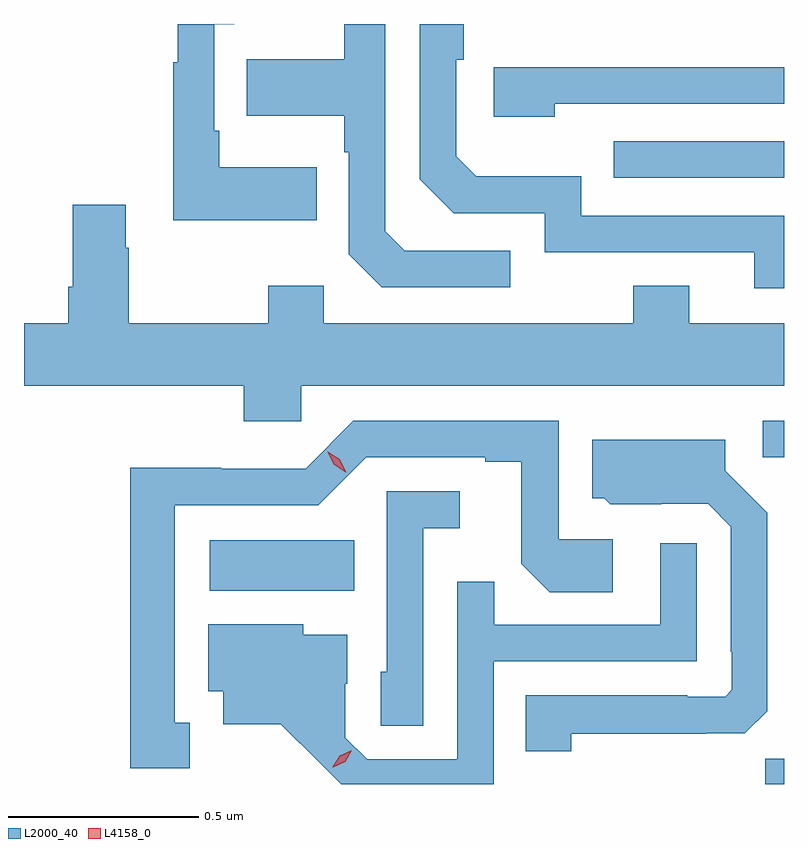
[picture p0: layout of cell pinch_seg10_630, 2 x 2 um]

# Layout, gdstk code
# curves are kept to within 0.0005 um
import gdstk
lib = gdstk.Library(unit=1e-6, precision=1e-09)
def R(c, l, rs):  # rectangles x0, y0, x1, y1
    for r in rs: c.add(gdstk.rectangle(r[:2], r[2:], *l))
def P(c, l, *ps):  # polygons
    for p in ps: c.add(gdstk.Polygon(p, *l))
L2000_40 = (2000, 40)
L4158_0 = (4158, 0)

pinch_seg10_630 = lib.new_cell('pinch_seg10_630')
R(pinch_seg10_630, L2000_40, [(293.794,1279.288,293.843,1279.355), (292.332,1279.796,292.712,1279.93), (293.787,1280.148,293.843,1280.244), (293.395,1280.883,293.843,1280.979)])
P(pinch_seg10_630, L2000_40, [(292.613,1280.911),(292.357,1280.911),(292.357,1281.007),(292.344,1281.007),(292.344,1281.287),(292.396,1281.287),(292.396,1281.288),(292.247,1281.288),(292.247,1281.187),(292.236,1281.187),(292.236,1280.771),(292.613,1280.771)],
  [(293.122,1280.691),(292.845,1280.691),(292.794,1280.742),(292.794,1281.288),(292.686,1281.288),(292.686,1281.195),(292.429,1281.195),(292.429,1281.047),(292.686,1281.047),(292.686,1280.951),(292.698,1280.951),(292.698,1280.682),(292.785,1280.595),(293.122,1280.595)],
  [(293.843,1280.784),(293.31,1280.784),(293.31,1280.887),(293.033,1280.887),(292.98,1280.94),(292.98,1281.194),(293,1281.194),(293,1281.288),(292.884,1281.288),(292.884,1280.88),(292.974,1280.79),(293.214,1280.79),(293.214,1280.688),(293.765,1280.688),(293.765,1280.592),(293.843,1280.592)],
  [(293.24,1281.078),(293.843,1281.078),(293.843,1281.174),(293.079,1281.174),(293.079,1281.044),(293.24,1281.044)],
  [(292.572,1280.336),(293.843,1280.336),(293.843,1280.5),(293.593,1280.5),(293.593,1280.599),(293.446,1280.599),(293.446,1280.5),(292.632,1280.5),(292.632,1280.599),(292.486,1280.599),(292.486,1280.5),(292.119,1280.5),(292.119,1280.699),(292.111,1280.699),(292.111,1280.812),(291.971,1280.812),(291.971,1280.596),(291.959,1280.596),(291.959,1280.5),(291.843,1280.5),(291.843,1280.336),(292.421,1280.336),(292.421,1280.243),(292.572,1280.243)],
  [(292.279,1279.449),(292.24,1279.449),(292.24,1280.022),(292.617,1280.022),(292.743,1280.148),(293.057,1280.148),(293.057,1280.136),(293.151,1280.136),(293.151,1279.868),(293.227,1279.792),(293.392,1279.792),(293.392,1279.932),(293.25,1279.932),(293.25,1280.244),(292.71,1280.244),(292.584,1280.118),(292.362,1280.118),(292.362,1280.12),(292.122,1280.12),(292.122,1279.329),(292.279,1279.329)],
  [(293.283,1279.42),(293.639,1279.42),(293.639,1279.421),(293.74,1279.421),(293.799,1279.48),(293.799,1280.002),(293.689,1280.112),(293.689,1280.194),(293.339,1280.194),(293.339,1280.04),(293.37,1280.04),(293.386,1280.024),(293.52,1280.024),(293.52,1280.025),(293.643,1280.025),(293.703,1279.965),(293.703,1279.636),(293.706,1279.636),(293.706,1279.536),(293.688,1279.518),(293.588,1279.518),(293.588,1279.521),(293.164,1279.521),(293.164,1279.374),(293.283,1279.374)],
  [(292.893,1279.961),(292.99,1279.961),(292.99,1280.058),(292.797,1280.058),(292.797,1279.584),(292.782,1279.584),(292.782,1279.441),(292.893,1279.441)],
  [(293.079,1279.611),(293.613,1279.611),(293.613,1279.921),(293.517,1279.921),(293.517,1279.707),(293.081,1279.707),(293.081,1279.82),(292.983,1279.82),(292.983,1279.353),(292.746,1279.353),(292.689,1279.41),(292.689,1279.552),(292.693,1279.552),(292.693,1279.681),(292.578,1279.681),(292.578,1279.708),(292.328,1279.708),(292.328,1279.532),(292.367,1279.532),(292.367,1279.445),(292.519,1279.445),(292.678,1279.288),(293.079,1279.288)])
P(pinch_seg10_630, L4158_0, [(292.656,1279.332),(292.656,1279.333),(292.674,1279.362),(292.705,1279.377),(292.706,1279.377),(292.706,1279.377),(292.688,1279.347),(292.657,1279.332)],
  [(292.69,1280.109),(292.659,1280.128),(292.642,1280.161),(292.642,1280.162),(292.642,1280.162),(292.674,1280.142),(292.691,1280.109),(292.691,1280.109)])

lib.write_gds('pinch_seg10_630.gds')
